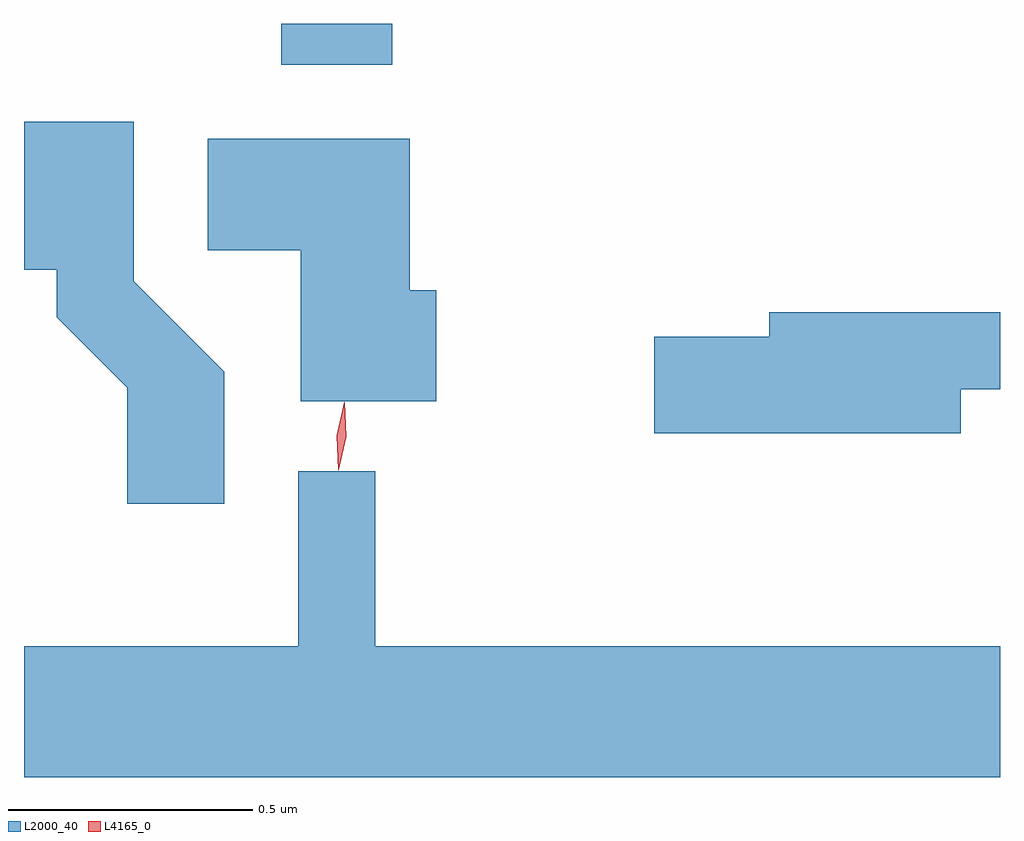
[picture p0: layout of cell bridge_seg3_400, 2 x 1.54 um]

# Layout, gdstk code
import gdstk
lib = gdstk.Library(unit=1e-6, precision=1e-09)
def R(c, l, rs):  # rectangles x0, y0, x1, y1
    for r in rs: c.add(gdstk.rectangle(r[:2], r[2:], *l))
def P(c, l, *ps):  # polygons
    for p in ps: c.add(gdstk.Polygon(p, *l))
L2000_40 = (2000, 40)
L4165_0 = (4165, 0)

bridge_seg3_400 = lib.new_cell('bridge_seg3_400')
R(bridge_seg3_400, L2000_40, [(557.491,1131.916,557.719,1132)])
P(bridge_seg3_400, L2000_40, [(557.374,1131.287),(557.189,1131.472),(557.189,1131.799),(556.964,1131.799),(556.964,1131.496),(557.031,1131.496),(557.031,1131.399),(557.176,1131.254),(557.176,1131.016),(557.374,1131.016)],
  [(557.809,1131.454),(557.754,1131.454),(557.754,1131.764),(557.341,1131.764),(557.341,1131.536),(557.531,1131.536),(557.531,1131.226),(557.809,1131.226)],
  [(558.884,1131.251),(558.964,1131.251),(558.964,1131.409),(558.491,1131.409),(558.491,1131.359),(558.256,1131.359),(558.256,1131.161),(558.884,1131.161)],
  [(558.964,1130.724),(557.684,1130.724),(557.684,1131.083),(557.526,1131.083),(557.526,1130.724),(556.964,1130.724),(556.964,1130.456),(558.964,1130.456)])
P(bridge_seg3_400, L4165_0, [(557.608,1131.085),(557.608,1131.086),(557.605,1131.156),(557.62,1131.224),(557.621,1131.224),(557.621,1131.224),(557.624,1131.154),(557.609,1131.086)])

lib.write_gds('bridge_seg3_400.gds')
